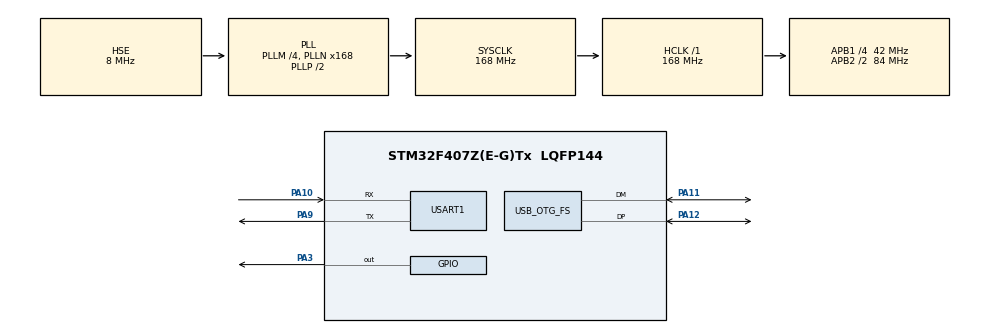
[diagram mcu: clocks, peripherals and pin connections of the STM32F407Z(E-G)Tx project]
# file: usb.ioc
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FATFS._CODE_PAGE=936
Mcu.Family=STM32F4
Mcu.Name=STM32F407Z(E-G)Tx
Mcu.Package=LQFP144
NVIC.OTG_FS_IRQn=true\:5\:0\:true\:false\:true\:false\:true\:true
NVIC.PriorityGroup=NVIC_PRIORITYGROUP_4
PA10.Mode=Asynchronous
PA10.Signal=USART1_RX
PA11.Mode=Host_Only
PA11.Signal=USB_OTG_FS_DM
PA12.Mode=Host_Only
PA12.Signal=USB_OTG_FS_DP
PA13.Mode=Serial_Wire
PA13.Signal=SYS_JTMS-SWDIO
PA14.Mode=Serial_Wire
PA14.Signal=SYS_JTCK-SWCLK
PA3.Signal=GPIO_Output
PA9.Mode=Asynchronous
PA9.Signal=USART1_TX
PC14-OSC32_IN.Mode=LSE-External-Oscillator
PC14-OSC32_IN.Signal=RCC_OSC32_IN
PC15-OSC32_OUT.Mode=LSE-External-Oscillator
PC15-OSC32_OUT.Signal=RCC_OSC32_OUT
PH0-OSC_IN.Mode=HSE-External-Oscillator
PH0-OSC_IN.Signal=RCC_OSC_IN
PH1-OSC_OUT.Mode=HSE-External-Oscillator
PH1-OSC_OUT.Signal=RCC_OSC_OUT
ProjectManager.HeapSize=0x200
ProjectManager.StackSize=0x400
ProjectManager.TargetToolchain=MDK-ARM V5.32
RCC.48MHZClocksFreq_Value=48000000
RCC.AHBFreq_Value=168000000
RCC.APB1CLKDivider=RCC_HCLK_DIV4
RCC.APB1Freq_Value=42000000
RCC.APB1TimFreq_Value=84000000
RCC.APB2CLKDivider=RCC_HCLK_DIV2
RCC.APB2Freq_Value=84000000
RCC.APB2TimFreq_Value=168000000
RCC.CortexFreq_Value=168000000
RCC.HCLKFreq_Value=168000000
RCC.HSE_VALUE=8000000
RCC.HSI_VALUE=16000000
RCC.PLLM=4
RCC.PLLN=168
RCC.PLLQ=7
RCC.SYSCLKFreq_VALUE=168000000
RCC.SYSCLKSource=RCC_SYSCLKSOURCE_PLLCLK
RCC.VCOOutputFreq_Value=336000000
USART1.VirtualMode=VM_ASYNC
USB_HOST.BSP.number=1
USB_HOST.USBH_HandleTypeDef-MSC_FS=hUsbHostFS
USB_HOST.VirtualModeFS=Msc
USB_HOST0.BSP.STBoard=false
USB_HOST0.BSP.api=Unknown
USB_HOST0.BSP.i2caddr=0
USB_HOST0.BSP.instance=PA3
USB_HOST0.BSP.ip=GPIO
USB_HOST0.BSP.mode=Output
USB_HOST0.BSP.name=Drive_VBUS_FS
USB_HOST0.BSP.solution=PA3
USB_OTG_FS.VirtualMode=Host_Only
USB_OTG_FS.phy_itface=HCD_PHY_EMBEDDED
VP_FATFS_VS_USB.Mode=USB
VP_USB_HOST_VS_USB_HOST_MSC_FS.Mode=MSC_FS
board=custom

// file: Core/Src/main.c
/* USER CODE BEGIN Header */
/**
  ******************************************************************************
  * @file           : main.c
  * @brief          : Main program body
  ******************************************************************************
  * @attention
  *
  * Copyright (c) 2023 STMicroelectronics.
  * All rights reserved.
  *
  * This software is licensed under terms that can be found in the LICENSE file
  * in the root directory of this software component.
  * If no LICENSE file comes with this software, it is provided AS-IS.
  *
  ******************************************************************************
  */
/* USER CODE END Header */
#include "main.h"
#include "fatfs.h"
#include "usart.h"
#include "usb_host.h"
#include "gpio.h"

/* USER CODE BEGIN Includes */
//如果代码中中文出现乱码,请在 setting->editer->encoder中调成中文
#include "stdio.h"
/* USER CODE END Includes */

void SystemClock_Config(void);
void MX_USB_HOST_Process(void);

/* USER CODE BEGIN 0 */
extern ApplicationTypeDef Appli_state;
uint8_t status=0;
uint8_t FileBuf[100]="hello 你好";//文件写入内容
UINT bw;
uint8_t show[30];
/* USER CODE END 0 */

int main(void)
{

  /* MCU Configuration--------------------------------------------------------*/

  /* Reset of all peripherals, Initializes the Flash interface and the Systick. */
  HAL_Init();

  /* Configure the system clock */
  SystemClock_Config();

  /* Initialize all configured peripherals */
	//设备初始化 gpio 串口 fatfs usb
  MX_GPIO_Init();
  MX_USART1_UART_Init();
  MX_FATFS_Init();
  MX_USB_HOST_Init();
  /* USER CODE BEGIN 2 */
	//串口打印测设
  HAL_UART_Transmit(&huart1,(uint8_t*)"hello 你好",5,100);
  /* USER CODE END 2 */

  /* Infinite loop */
  while (1)
  {
		//周期性调用此函数,以完成usb主机操作
    MX_USB_HOST_Process();
    /* USER CODE BEGIN 3 */
		//Appli_state为外设usb设备状态,具体请查看其定义
		 if(Appli_state == APPLICATION_READY)//usb外设已准备好
        {
          if(status == 0)
          {
            status = 1;
            retUSBH=f_mount(&USBHFatFS, (TCHAR const*)USBHPath, 1);//fatfs挂载usb设备,挂载成功则打印下面内容
            if(retUSBH==FR_OK)
            {
              HAL_UART_Transmit(&huart1,(uint8_t*)"Mount the USB flash drive!\r\n",sizeof("Mount the USB flash drive!\r\n"),100);
            }

						//打开文件测试
            HAL_UART_Transmit(&huart1,(uint8_t*)"open test!\r\n",sizeof("open test!\r\n"),100);
            retUSBH = f_open(&USBHFile,(const char*)"test.txt",FA_CREATE_ALWAYS|FA_WRITE);
						while(retUSBH!=FR_OK)
						{
							retUSBH = f_open(&USBHFile,(const char*)"test.txt",FA_CREATE_ALWAYS|FA_WRITE);
						}
            if(retUSBH==FR_OK)
            {
              HAL_UART_Transmit(&huart1,(uint8_t*)"open test successful!\r\n",sizeof("open test successful!\r\n"),100);
            }

						//写入文件测试,成功写入后关闭文件
            retUSBH = f_write(&USBHFile,FileBuf,18,&bw);
            if(retUSBH==FR_OK)
            {
              HAL_UART_Transmit(&huart1,(uint8_t*)"write file successful!\r\n",sizeof("write file successful!\r\n"),100);
            }
            retUSBH = f_close(&USBHFile);
            if(retUSBH==FR_OK)
            {
              HAL_UART_Transmit(&huart1,(uint8_t*)"close file successful!\r\n\r\n",sizeof("close file successful!\r\n\r\n"),100);
            }

						//读取文件测试,读取成功串口发送一下句柄,并打印文件内容
            HAL_UART_Transmit(&huart1,(uint8_t*)"read file test!\r\n",sizeof("read file test!\r\n"),100);
            retUSBH = f_open(&USBHFile,(const char*)"test.txt",FA_OPEN_EXISTING|FA_READ);
            if(retUSBH==FR_OK)
            {
              HAL_UART_Transmit(&huart1,(uint8_t*)"open file successful!\r\n",sizeof("open file successful!\r\n"),100);
            }
            retUSBH = f_read(&USBHFile,FileBuf,18,&bw);
            if(retUSBH==FR_OK)
            {
							HAL_UART_Transmit(&huart1,(uint8_t*)"read file successful!\r\n",sizeof("read file successful!\r\n"),100);
              HAL_UART_Transmit(&huart1,FileBuf,bw,100);
							HAL_UART_Transmit(&huart1,"\r\n",4,100);
            }
            retUSBH = f_close(&USBHFile);//关闭文件
            if(retUSBH==FR_OK)
            {
              HAL_UART_Transmit(&huart1,(uint8_t*)"close file successful!\r\n",sizeof("close file successful!\r\n"),100);
						}
		}
	}

		if(Appli_state == APPLICATION_IDLE)//未检测到u盘
		{
			HAL_UART_Transmit(&huart1,(uint8_t*)"未检测到u盘!\r\n",15,100);
			status = 0;
		}
		if(Appli_state == APPLICATION_DISCONNECT)//u盘断开连接
		{
			HAL_UART_Transmit(&huart1,(uint8_t*)"断开连接!\r\n",15,100);
			status = 0;
		}
//		sprintf((char*)show,"%d\r\n",Appli_state);
//		HAL_UART_Transmit(&huart1,show,sizeof(show),100);
  }
  /* USER CODE END 3 */
}

void SystemClock_Config(void)
{
  RCC_OscInitTypeDef RCC_OscInitStruct = {0};
  RCC_ClkInitTypeDef RCC_ClkInitStruct = {0};

  /** Configure the main internal regulator output voltage
  */
  __HAL_RCC_PWR_CLK_ENABLE();
  __HAL_PWR_VOLTAGESCALING_CONFIG(PWR_REGULATOR_VOLTAGE_SCALE1);

  /** Initializes the RCC Oscillators according to the specified parameters
  * in the RCC_OscInitTypeDef structure.
  */
  RCC_OscInitStruct.OscillatorType = RCC_OSCILLATORTYPE_HSE;
  RCC_OscInitStruct.HSEState = RCC_HSE_ON;
  RCC_OscInitStruct.PLL.PLLState = RCC_PLL_ON;
  RCC_OscInitStruct.PLL.PLLSource = RCC_PLLSOURCE_HSE;
  RCC_OscInitStruct.PLL.PLLM = 4;
  RCC_OscInitStruct.PLL.PLLN = 168;
  RCC_OscInitStruct.PLL.PLLP = RCC_PLLP_DIV2;
  RCC_OscInitStruct.PLL.PLLQ = 7;
  if (HAL_RCC_OscConfig(&RCC_OscInitStruct) != HAL_OK)
  {
    Error_Handler();
  }

  /** Initializes the CPU, AHB and APB buses clocks
  */
  RCC_ClkInitStruct.ClockType = RCC_CLOCKTYPE_HCLK|RCC_CLOCKTYPE_SYSCLK
                              |RCC_CLOCKTYPE_PCLK1|RCC_CLOCKTYPE_PCLK2;
  RCC_ClkInitStruct.SYSCLKSource = RCC_SYSCLKSOURCE_PLLCLK;
  RCC_ClkInitStruct.AHBCLKDivider = RCC_SYSCLK_DIV1;
  RCC_ClkInitStruct.APB1CLKDivider = RCC_HCLK_DIV4;
  RCC_ClkInitStruct.APB2CLKDivider = RCC_HCLK_DIV2;

  if (HAL_RCC_ClockConfig(&RCC_ClkInitStruct, FLASH_LATENCY_5) != HAL_OK)
  {
    Error_Handler();
  }
}

void Error_Handler(void)
{
  __disable_irq();
  while (1)
  {
  }
}
